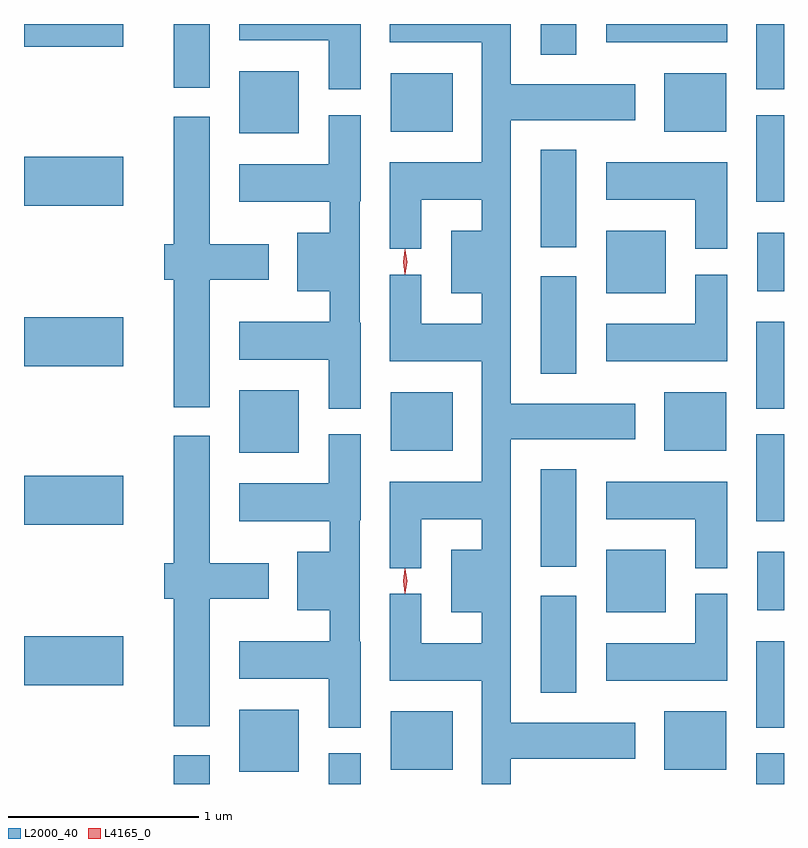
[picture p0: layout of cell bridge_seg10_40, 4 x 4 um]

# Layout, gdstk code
import gdstk
lib = gdstk.Library(unit=1e-6, precision=1e-09)
def R(c, l, rs):  # rectangles x0, y0, x1, y1
    for r in rs: c.add(gdstk.rectangle(r[:2], r[2:], *l))
def A(c, l, x, y, w, h, nx, ny, dx, dy):  # array of equal rectangles
    R(c, l, [(x+i*dx, y+j*dy, x+i*dx+w, y+j*dy+h) for i in range(nx) for j in range(ny)])
def P(c, l, *ps):  # polygons
    for p in ps: c.add(gdstk.Polygon(p, *l))
L2000_40 = (2000, 40)
L4165_0 = (4165, 0)

bridge_seg10_40 = lib.new_cell('bridge_seg10_40')
A(bridge_seg10_40, L2000_40, 1624.131, 2158.086, 0.313, 0.328, 1, 3, 0, 1.68)
A(bridge_seg10_40, L2000_40, 1624.926, 2158.096, 0.328, 0.308, 1, 3, 0, 1.68)
A(bridge_seg10_40, L2000_40, 1626.366, 2158.096, 0.328, 0.308, 1, 3, 0, 1.68)
R(bridge_seg10_40, L2000_40, [(1623.786,2158.022,1623.974,2158.174), (1624.601,2158.022,1624.769,2158.183), (1626.851,2158.022,1626.997,2158.183), (1626.851,2158.318,1626.997,2158.774), (1625.716,2158.501,1625.904,2159.014), (1622.997,2158.541,1623.519,2158.799), (1626.061,2158.926,1626.374,2159.254), (1626.856,2158.936,1626.997,2159.244), (1625.716,2159.166,1625.904,2159.679), (1622.997,2159.386,1623.519,2159.644), (1626.851,2159.406,1626.997,2159.863), (1626.851,2159.998,1626.997,2160.454), (1625.716,2160.181,1625.904,2160.694), (1622.997,2160.221,1623.519,2160.479), (1626.061,2160.606,1626.374,2160.934), (1626.856,2160.616,1626.997,2160.924), (1625.716,2160.846,1625.904,2161.359), (1622.997,2161.066,1623.519,2161.324), (1626.851,2161.086,1626.997,2161.543), (1626.851,2161.678,1626.997,2162.022), (1623.786,2161.686,1623.974,2162.022), (1625.716,2161.861,1625.904,2162.022), (1622.997,2161.901,1623.519,2162.022), (1626.061,2161.926,1626.699,2162.022)])
P(bridge_seg10_40, L2000_40, [(1625.559,2158.156),(1626.214,2158.156),(1626.214,2158.344),(1625.559,2158.344),(1625.559,2159.836),(1626.214,2159.836),(1626.214,2160.024),(1625.559,2160.024),(1625.559,2161.516),(1626.214,2161.516),(1626.214,2161.704),(1625.559,2161.704),(1625.559,2162.022),(1624.921,2162.022),(1624.921,2161.926),(1625.406,2161.926),(1625.406,2161.294),(1624.921,2161.294),(1624.921,2160.838),(1625.089,2160.838),(1625.089,2161.096),(1625.406,2161.096),(1625.406,2160.934),(1625.246,2160.934),(1625.246,2160.606),(1625.406,2160.606),(1625.406,2160.444),(1625.089,2160.444),(1625.089,2160.703),(1624.921,2160.703),(1624.921,2160.246),(1625.406,2160.246),(1625.406,2159.614),(1624.921,2159.614),(1624.921,2159.158),(1625.089,2159.158),(1625.089,2159.416),(1625.406,2159.416),(1625.406,2159.254),(1625.246,2159.254),(1625.246,2158.926),(1625.406,2158.926),(1625.406,2158.764),(1625.089,2158.764),(1625.089,2159.023),(1624.921,2159.023),(1624.921,2158.566),(1625.406,2158.566),(1625.406,2158.022),(1625.559,2158.022)],
  [(1624.769,2162.022),(1624.131,2162.022),(1624.131,2161.936),(1624.601,2161.936),(1624.601,2161.678),(1624.769,2161.678)],
  [(1624.769,2160.45),(1624.764,2160.45),(1624.764,2161.09),(1624.769,2161.09),(1624.769,2161.543),(1624.601,2161.543),(1624.601,2161.284),(1624.131,2161.284),(1624.131,2161.086),(1624.606,2161.086),(1624.606,2160.924),(1624.436,2160.924),(1624.436,2160.616),(1624.606,2160.616),(1624.606,2160.454),(1624.131,2160.454),(1624.131,2160.256),(1624.601,2160.256),(1624.601,2159.998),(1624.769,2159.998)],
  [(1623.974,2160.676),(1624.284,2160.676),(1624.284,2160.864),(1623.974,2160.864),(1623.974,2161.534),(1623.786,2161.534),(1623.786,2160.864),(1623.736,2160.864),(1623.736,2160.676),(1623.786,2160.676),(1623.786,2160.006),(1623.974,2160.006)],
  [(1626.699,2161.294),(1626.061,2161.294),(1626.061,2161.096),(1626.531,2161.096),(1626.531,2160.838),(1626.699,2160.838)],
  [(1626.699,2160.703),(1626.531,2160.703),(1626.531,2160.444),(1626.061,2160.444),(1626.061,2160.246),(1626.699,2160.246)],
  [(1624.769,2158.77),(1624.764,2158.77),(1624.764,2159.41),(1624.769,2159.41),(1624.769,2159.863),(1624.601,2159.863),(1624.601,2159.604),(1624.131,2159.604),(1624.131,2159.406),(1624.606,2159.406),(1624.606,2159.244),(1624.436,2159.244),(1624.436,2158.936),(1624.606,2158.936),(1624.606,2158.774),(1624.131,2158.774),(1624.131,2158.576),(1624.601,2158.576),(1624.601,2158.318),(1624.769,2158.318)],
  [(1623.974,2158.996),(1624.284,2158.996),(1624.284,2159.184),(1623.974,2159.184),(1623.974,2159.854),(1623.786,2159.854),(1623.786,2159.184),(1623.736,2159.184),(1623.736,2158.996),(1623.786,2158.996),(1623.786,2158.326),(1623.974,2158.326)],
  [(1626.699,2159.614),(1626.061,2159.614),(1626.061,2159.416),(1626.531,2159.416),(1626.531,2159.158),(1626.699,2159.158)],
  [(1626.699,2159.023),(1626.531,2159.023),(1626.531,2158.764),(1626.061,2158.764),(1626.061,2158.566),(1626.699,2158.566)])
P(bridge_seg10_40, L4165_0, [(1625.003,2159.024),(1625.002,2159.025),(1624.993,2159.09),(1625.002,2159.155),(1625.003,2159.156),(1625.003,2159.155),(1625.013,2159.09),(1625.003,2159.025)],
  [(1625.003,2160.704),(1625.002,2160.705),(1624.993,2160.77),(1625.002,2160.835),(1625.003,2160.836),(1625.003,2160.835),(1625.013,2160.77),(1625.003,2160.705)])

lib.write_gds('bridge_seg10_40.gds')
